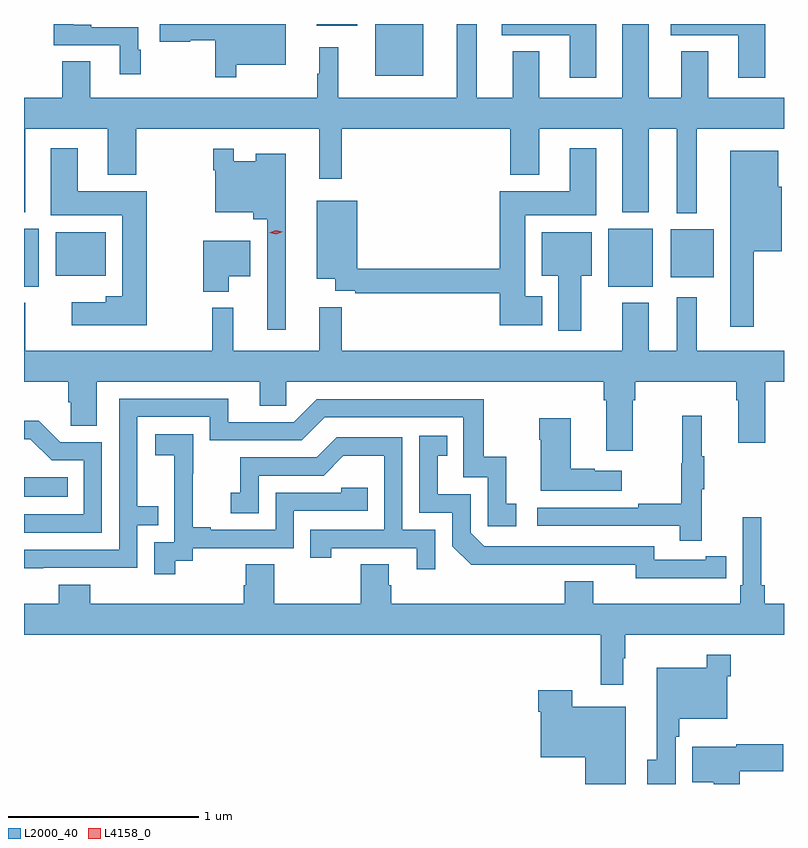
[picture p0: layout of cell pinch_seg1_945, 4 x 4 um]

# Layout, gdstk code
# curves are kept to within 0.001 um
import gdstk
lib = gdstk.Library(unit=1e-6, precision=1e-09)
def R(c, l, rs):  # rectangles x0, y0, x1, y1
    for r in rs: c.add(gdstk.rectangle(r[:2], r[2:], *l))
def P(c, l, *ps):  # polygons
    for p in ps: c.add(gdstk.Polygon(p, *l))
L2000_40 = (2000, 40)
L4158_0 = (4158, 0)

pinch_seg1_945 = lib.new_cell('pinch_seg1_945')
R(pinch_seg1_945, L2000_40, [(136.651,509.834,136.88,509.938), (136.651,510.941,136.729,511.246), (139.727,510.941,139.96,511.246), (140.054,510.989,140.281,511.243), (136.817,510.998,137.08,511.228), (138.5,512.051,138.751,512.323), (138.191,512.315,138.406,512.323)])
P(pinch_seg1_945, L2000_40, [(140.551,512.323),(140.054,512.323),(140.054,512.264),(140.411,512.264),(140.411,512.04),(140.551,512.04)],
  [(139.663,512.323),(139.166,512.323),(139.166,512.264),(139.523,512.264),(139.523,512.04),(139.663,512.04)],
  [(137.767,512.108),(138.028,512.108),(138.028,512.323),(137.366,512.323),(137.366,512.23),(137.526,512.23),(137.526,512.238),(137.657,512.238),(137.657,512.043),(137.767,512.043)],
  [(137.266,512.187),(137.253,512.187),(137.253,512.307),(137.005,512.307),(137.005,512.32),(136.91,512.32),(136.91,512.323),(136.807,512.323),(136.807,512.211),(137.156,512.211),(137.156,512.058),(137.266,512.058)],
  [(140.191,511.772),(140.651,511.772),(140.651,511.936),(140.251,511.936),(140.251,512.179),(140.111,512.179),(140.111,511.936),(139.939,511.936),(139.939,512.323),(139.799,512.323),(139.799,511.936),(139.363,511.936),(139.363,512.179),(139.223,512.179),(139.223,511.936),(139.033,511.936),(139.033,512.323),(138.929,512.323),(138.929,511.936),(138.305,511.936),(138.305,512.2),(138.206,512.2),(138.206,512.06),(138.195,512.06),(138.195,511.936),(136.999,511.936),(136.999,512.126),(136.852,512.126),(136.852,511.936),(136.651,511.936),(136.651,511.331),(136.657,511.331),(136.657,511.772),(137.093,511.772),(137.093,511.529),(137.241,511.529),(137.241,511.772),(138.206,511.772),(138.206,511.509),(138.323,511.509),(138.323,511.772),(139.211,511.772),(139.211,511.529),(139.363,511.529),(139.363,511.772),(139.799,511.772),(139.799,511.331),(139.939,511.331),(139.939,511.772),(140.087,511.772),(140.087,511.328),(140.191,511.328)],
  [(139.378,510.889),(139.288,510.889),(139.288,511.316),(139.663,511.316),(139.663,511.669),(139.523,511.669),(139.523,511.444),(139.154,511.444),(139.154,511.034),(138.406,511.034),(138.406,511.393),(138.191,511.393),(138.191,510.983),(138.29,510.983),(138.29,510.918),(138.394,510.918),(138.394,510.906),(139.154,510.906),(139.154,510.737),(139.378,510.737)],
  [(137.298,511.444),(136.933,511.444),(136.933,511.669),(136.793,511.669),(136.793,511.316),(137.168,511.316),(137.168,510.889),(137.081,510.889),(137.081,510.859),(136.902,510.859),(136.902,510.737),(137.298,510.737)],
  [(138.028,511.639),(137.87,511.639),(137.87,511.6),(137.754,511.6),(137.754,511.666),(137.646,511.666),(137.646,511.553),(137.658,511.553),(137.658,511.331),(137.858,511.331),(137.858,511.295),(137.931,511.295),(137.931,510.714),(138.028,510.714)],
  [(140.491,511.127),(140.638,511.127),(140.638,511.467),(140.62,511.467),(140.62,511.657),(140.369,511.657),(140.369,510.729),(140.491,510.729)],
  [(139.585,510.998),(139.639,510.998),(139.639,511.228),(139.376,511.228),(139.376,510.998),(139.463,510.998),(139.463,510.708),(139.585,510.708)],
  [(137.728,510.995),(137.842,510.995),(137.842,511.183),(137.594,511.183),(137.594,510.914),(137.728,510.914)],
  [(139.855,510.344),(139.868,510.344),(139.868,510.44),(140.399,510.44),(140.399,510.344),(140.411,510.344),(140.411,510.12),(140.551,510.12),(140.551,510.44),(140.651,510.44),(140.651,510.604),(140.191,510.604),(140.191,510.886),(140.087,510.886),(140.087,510.604),(139.939,510.604),(139.939,510.856),(139.799,510.856),(139.799,510.604),(138.323,510.604),(138.323,510.833),(138.206,510.833),(138.206,510.604),(137.753,510.604),(137.753,510.829),(137.643,510.829),(137.643,510.604),(136.657,510.604),(136.657,510.856),(136.651,510.856),(136.651,510.44),(136.883,510.44),(136.883,510.331),(136.896,510.331),(136.896,510.208),(137.035,510.208),(137.035,510.44),(137.891,510.44),(137.891,510.313),(138.03,510.313),(138.03,510.44),(139.703,510.44),(139.703,510.344),(139.715,510.344),(139.715,510.078),(139.855,510.078)],
  [(136.751,509.46),(137.247,509.46),(137.247,509.685),(137.357,509.685),(137.357,509.786),(137.247,509.786),(137.247,510.255),(137.628,510.255),(137.628,510.132),(138.114,510.132),(138.234,510.252),(138.963,510.252),(138.963,509.937),(139.092,509.937),(139.092,509.679),(139.243,509.679),(139.243,509.799),(139.19,509.799),(139.19,510.046),(139.072,510.046),(139.072,510.348),(138.192,510.348),(138.072,510.228),(137.725,510.228),(137.725,510.351),(137.151,510.351),(137.151,509.556),(136.651,509.556),(136.651,509.459)],
  [(140.219,509.875),(140.23,509.875),(140.23,510.049),(140.219,510.049),(140.219,510.262),(140.116,510.262),(140.116,510.012),(140.109,510.012),(140.109,509.798),(139.885,509.798),(139.885,509.778),(139.353,509.778),(139.353,509.682),(140.101,509.682),(140.101,509.604),(140.219,509.604)],
  [(139.798,509.971),(139.655,509.971),(139.655,509.981),(139.528,509.981),(139.528,510.247),(139.363,510.247),(139.363,510.134),(139.37,510.134),(139.37,509.867),(139.798,509.867)],
  [(137.061,510.123),(136.842,510.123),(136.729,510.236),(136.651,510.236),(136.651,510.138),(136.685,510.138),(136.796,510.027),(136.965,510.027),(136.965,509.742),(136.651,509.742),(136.651,509.646),(137.061,509.646)],
  [(137.446,509.497),(137.538,509.497),(137.538,509.565),(138.072,509.565),(138.072,509.76),(138.461,509.76),(138.461,509.883),(138.321,509.883),(138.321,509.856),(137.976,509.856),(137.976,509.661),(137.635,509.661),(137.635,509.674),(137.54,509.674),(137.54,509.957),(137.541,509.957),(137.541,510.163),(137.343,510.163),(137.343,510.053),(137.441,510.053),(137.441,509.825),(137.442,509.825),(137.442,509.595),(137.337,509.595),(137.337,509.427),(137.446,509.427)],
  [(140.24,509.406),(140.348,509.406),(140.348,509.522),(140.24,509.522),(140.24,509.502),(139.968,509.502),(139.968,509.574),(139.074,509.574),(139.002,509.646),(139.002,509.847),(138.829,509.847),(138.829,510.051),(138.878,510.051),(138.878,510.157),(138.732,510.157),(138.732,509.751),(138.906,509.751),(138.906,509.574),(139.004,509.477),(139.872,509.478),(139.872,509.405)],
  [(138.816,509.661),(138.642,509.661),(138.642,510.147),(138.296,510.147),(138.191,510.042),(137.788,510.042),(137.788,509.857),(137.739,509.857),(137.739,509.748),(137.886,509.748),(137.886,509.946),(138.228,509.946),(138.332,510.05),(138.546,510.05),(138.546,509.661),(138.157,509.661),(138.157,509.514),(138.268,509.514),(138.268,509.565),(138.719,509.565),(138.719,509.454),(138.816,509.454)],
  [(136.835,509.371),(136.835,509.272),(136.651,509.272),(136.651,509.108),(139.687,509.108),(139.687,508.845),(139.804,508.845),(139.804,508.985),(139.816,508.985),(139.816,509.108),(140.651,509.108),(140.651,509.272),(140.549,509.272),(140.549,509.368),(140.53,509.368),(140.53,509.728),(140.433,509.728),(140.433,509.368),(140.42,509.368),(140.42,509.272),(139.648,509.272),(139.648,509.389),(139.496,509.389),(139.496,509.272),(138.584,509.272),(138.584,509.37),(138.571,509.37),(138.571,509.48),(138.424,509.48),(138.424,509.272),(137.967,509.272),(137.967,509.48),(137.819,509.48),(137.819,509.37),(137.807,509.37),(137.807,509.272),(137,509.272),(137,509.371)],
  [(140.08,508.571),(140.099,508.571),(140.099,508.667),(140.352,508.667),(140.352,508.889),(140.372,508.889),(140.372,509.002),(140.244,509.002),(140.244,508.936),(139.982,508.936),(139.982,508.45),(139.931,508.45),(139.931,508.323),(140.08,508.323)],
  [(139.819,508.729),(139.536,508.729),(139.536,508.816),(139.358,508.816),(139.358,508.703),(139.37,508.703),(139.37,508.463),(139.604,508.463),(139.604,508.323),(139.819,508.323)],
  [(140.417,508.39),(140.647,508.39),(140.647,508.532),(140.4,508.532),(140.4,508.519),(140.168,508.519),(140.168,508.331),(140.282,508.331),(140.282,508.323),(140.417,508.323)])
P(pinch_seg1_945, L4158_0, [(137.978,511.217),(137.942,511.224),(137.942,511.224),(137.942,511.225),(137.977,511.237),(138.012,511.23),(138.012,511.229),(138.012,511.229)])

lib.write_gds('pinch_seg1_945.gds')
